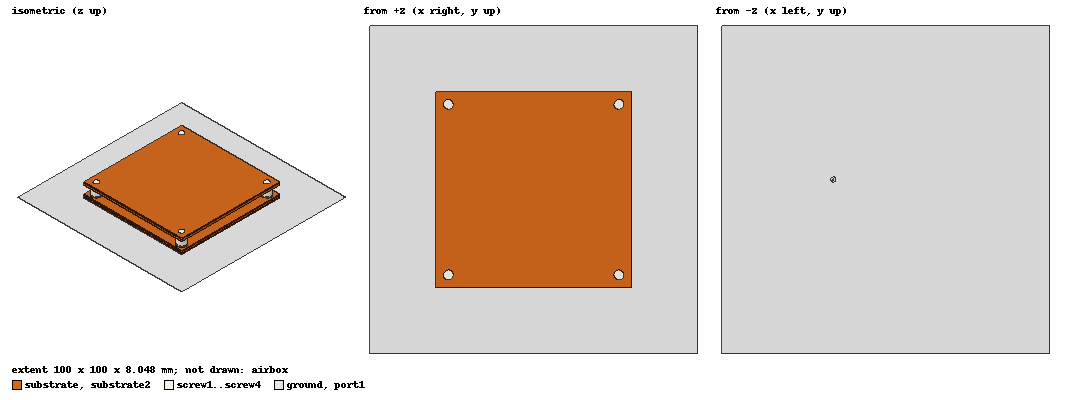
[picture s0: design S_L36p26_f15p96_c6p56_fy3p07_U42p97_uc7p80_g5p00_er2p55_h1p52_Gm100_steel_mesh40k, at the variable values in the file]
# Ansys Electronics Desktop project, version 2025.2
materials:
  vacuum: permittivity=1
  substrate_design: permittivity=2.55 permeability=1 dielectric_loss_tangent=0.0018
  pec: conductivity=1e+30
  copper: permeability=0.999991 conductivity=58000000

design S_L36p26_f15p96_c6p56_fy3p07_U42p97_uc7p80_g5p00_er2p55_h1p52_Gm100_steel_mesh40k (HFSS, HFSS Modal Network, model units mm)
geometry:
  substrate [substrate_design] = box(corner=(-30mm, -30mm, 0mm), size=(60mm, 60mm, 1.524mm))
  ground = rectangle(corner=(-50mm, -50mm, 0mm), x_size=100mm, y_size=100mm)
  hole1 = circle(normal=Z, centre=(15.96mm, 3.07mm, 0mm), radius=0.8mm)
  ground.subtract(hole1)
  patch = polyline(z=1.524mm, xy in mm: (-11.57, 18.13) (18.13, 18.13) (18.13, -11.57) (11.57, -18.13) (-18.13, -18.13) (-18.13, 11.57) (-11.57, 18.13), closed, covered)
  substrate2 [substrate_design] = box(corner=(-30mm, -30mm, 6.524mm), size=(60mm, 60mm, 1.524mm))
  patch2 = polyline(z=6.524mm, xy in mm: (-13.685, 21.485) (21.485, 21.485) (21.485, -13.685) (13.685, -21.485) (-21.485, -21.485) (-21.485, 13.685) (-13.685, 21.485), closed, covered)
  screw1 [pec] = cylinder(axis=Z, base_centre=(26mm, 26mm, 0mm), radius=1.5mm, height=8.048mm)
  screw1_1 = screw1.copy()
  substrate.subtract(screw1_1)
  screw1_2 = screw1.copy()
  substrate2.subtract(screw1_2)
  standoff1 = cylinder(axis=Z, base_centre=(26mm, 26mm, 1.524mm), radius=2.5mm, height=5mm)
  screw1.unite(standoff1)
  screw2 [pec] = cylinder(axis=Z, base_centre=(-26mm, 26mm, 0mm), radius=1.5mm, height=8.048mm)
  screw2_1 = screw2.copy()
  substrate.subtract(screw2_1)
  screw2_2 = screw2.copy()
  substrate2.subtract(screw2_2)
  standoff2 = cylinder(axis=Z, base_centre=(-26mm, 26mm, 1.524mm), radius=2.5mm, height=5mm)
  screw2.unite(standoff2)
  screw3 [pec] = cylinder(axis=Z, base_centre=(-26mm, -26mm, 0mm), radius=1.5mm, height=8.048mm)
  screw3_1 = screw3.copy()
  substrate.subtract(screw3_1)
  screw3_2 = screw3.copy()
  substrate2.subtract(screw3_2)
  standoff3 = cylinder(axis=Z, base_centre=(-26mm, -26mm, 1.524mm), radius=2.5mm, height=5mm)
  screw3.unite(standoff3)
  screw4 [pec] = cylinder(axis=Z, base_centre=(26mm, -26mm, 0mm), radius=1.5mm, height=8.048mm)
  screw4_1 = screw4.copy()
  substrate.subtract(screw4_1)
  screw4_2 = screw4.copy()
  substrate2.subtract(screw4_2)
  standoff4 = cylinder(axis=Z, base_centre=(26mm, -26mm, 1.524mm), radius=2.5mm, height=5mm)
  screw4.unite(standoff4)
  pin1 [pec] = cylinder(axis=Z, base_centre=(15.96mm, 3.07mm, 0mm), radius=0.25mm, height=1.524mm)
  pin1_1 = pin1.copy()
  substrate.subtract(pin1_1)
  port1 = circle(normal=Z, centre=(15.96mm, 3.07mm, 0mm), radius=0.8mm)
  inner1 = circle(normal=Z, centre=(15.96mm, 3.07mm, 0mm), radius=0.25mm)
  port1.subtract(inner1)
  airbox [vacuum] = box(corner=(-80.906439mm, -80.906439mm, -30.906439mm), size=(161.81288mm, 161.81288mm, 69.860878mm))
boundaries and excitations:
  Cu_sheets: Finite Conductivity Objects=[patch, ground, patch2] UseMaterial Material=copper Roughness=0mm IsInternal
  Rad__70TEJ8: Radiation Objects=airbox
  P1: Lumped Port Objects=port1 LumpedPortType=Modal Modes{Mode1{IntLine{(16.21, 3.07, 0) -> (16.76, 3.07, 0)} CharImp=Zpi RenormImp=50ohm}} Impedance=50ohm
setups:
  Setup1: HfssDriven Frequency=2.425GHz MaxDeltaS=1e-05 MaximumPasses=12 MinimumPasses=1 MinimumConvergedPasses=2 PercentRefinement=30 BasisOrder=1 PortAccuracy=2 DrivenSolverType="Direct Solver"
    sweep S: 2.2GHz to 2.7GHz, 1001 points; Type=Interpolating InterpTolerance=0.5 InterpMaxSolns=250 InterpUsePortImped=false PassivityErrorTolerance=0.0001
    sweep FF: 2.325GHz to 2.525GHz step 0.005GHz; Type=Discrete SaveFields
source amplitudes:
  P1:1: 1W 0deg
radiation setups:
  ff: Infinite Sphere Theta=-180deg..180deg step 2deg Phi=0deg..90deg step 90deg
